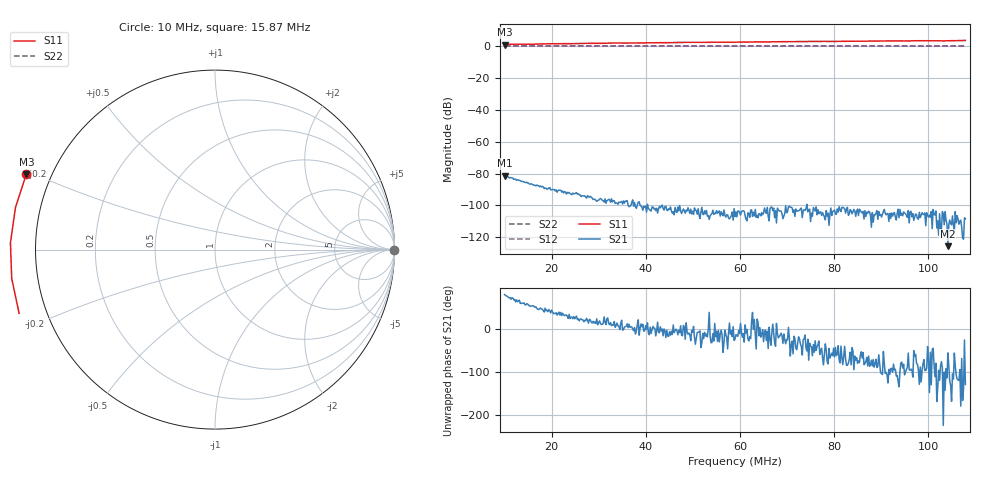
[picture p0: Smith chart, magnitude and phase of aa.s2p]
! Anritsu VNA Master:  Model: MS2036C/10/77
! SN:  1601066
! /card0/usr/aa.s2p
! Existing Calibration Information:
! TYPE:  Current Settings,  Active Cal Settings
! TIME:  12/17/2017 08:11:07 PM,  12/17/2017 06:38:14 PM
! INTERNAL TEMP:  38.0 C,  43.8 C
! # POINTS:  501,  501
! START FREQ:  10.000 MHz,  10.000 MHz
! STOP FREQ:  107.903 125 MHz,  107.903 125 MHz
! SOURCE POWER:  High,  High
! IFBW:  100 Hz,  100 Hz
! AVG FACTOR:  1 ,  1
! REF PLANE 1:  0 mm,  0 mm
! REF PLANE 2:  0 mm,  0 mm
! CAL TYPE:  Full S11,  Full S11
! CAL METHOD:  SOLT,  SOLT
! CAL LINE TYPE:  Coax,  Coax
! DUT PORT 1:  N-Conn(F),  N-Conn(F)
! DUT PORT 2:  K-Conn(F),  K-Conn(F)
! CAL STATUS:  ?T: Accuracy moderate (|Temp diff| > 5.0 C),  --
# GHZ S DB R 50.0
! FREQ.GHZ  S11DB  S11A  S21DB  S21A  S12DB  S12A  S22DB  S22A
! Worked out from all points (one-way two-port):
!   501 points, 10 MHz to 107.9 MHz, reference 50 ohm
!   highest |S21| = -81.27 dB at 10 MHz (marker M1); lowest = -125.7 dB at 104.2 MHz (marker M2)
!   lowest |S11| = 1.1 dB at 10 MHz (marker M3)
!   |S11| at or under -10 dB: nowhere
!   |S22| runs from 0.0 to 0.0 dB; largest |S21 - S12| = 1
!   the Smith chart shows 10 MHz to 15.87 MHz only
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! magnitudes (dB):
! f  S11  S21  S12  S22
! 10 MHz  1.1  -81.3  0.0  0.0
! 12.35 MHz  1.3  -83.5  0.0  0.0
! 15.87 MHz  1.3  -86.9  0.0  0.0
! 18.81 MHz  1.6  -89.2  0.0  0.0
! 22.73 MHz  1.6  -91.5  0.0  0.0
! 26.45 MHz  1.9  -94.0  0.0  0.0
! 30.17 MHz  1.8  -96.2  0.0  0.0
! 33.11 MHz  2.1  -97.1  0.0  0.0
! 37.02 MHz  2.0  -98.2  0.0  0.0
! 40.55 MHz  2.3  -102.1  0.0  0.0
! 42.7 MHz  2.2  -102.2  0.0  0.0
! 47.79 MHz  2.4  -103.6  0.0  0.0
! 59.15 MHz  2.6  -104.1  0.0  0.0
! 75.4 MHz  3.0  -106.8  0.0  0.0
! 79.9 MHz  3.0  -103.6  0.0  0.0
! 83.62 MHz  3.2  -103.3  0.0  0.0
! 91.65 MHz  3.3  -110.1  0.0  0.0
! 94 MHz  3.3  -102.6  0.0  0.0
! 98.31 MHz  3.5  -107.7  0.0  0.0
! 102 MHz  3.3  -109.8  0.0  0.0
! 104.2 MHz  3.4  -125.7  0.0  0.0
! 107.9 MHz  3.7  -108.5  0.0  0.0
